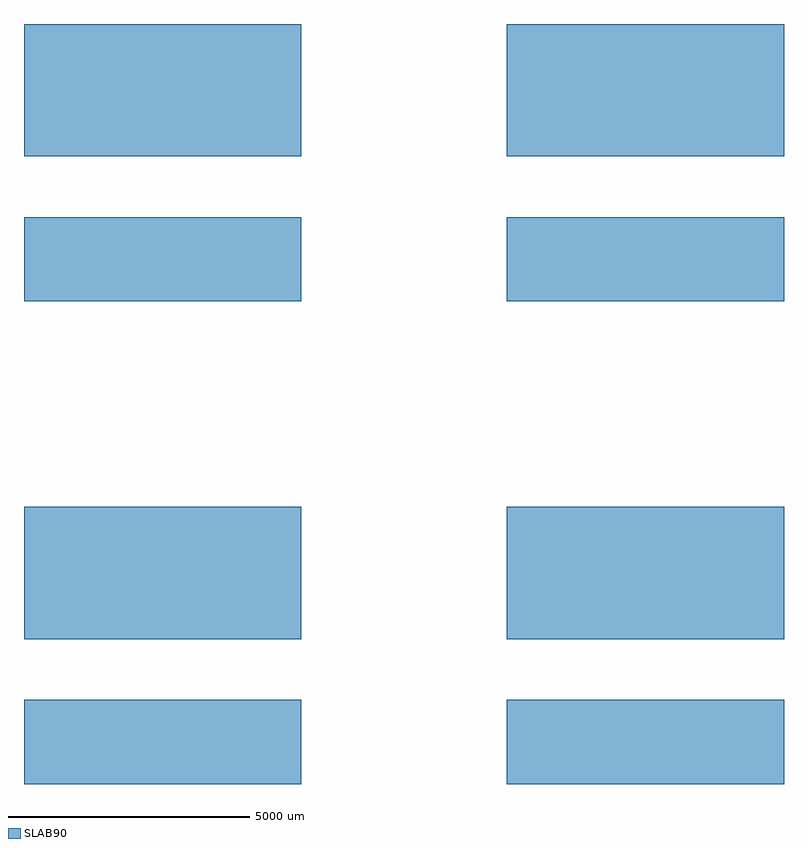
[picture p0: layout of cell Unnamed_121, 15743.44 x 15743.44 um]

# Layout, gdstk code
import gdstk
lib = gdstk.Library(unit=1e-6, precision=1e-09)
def R(c, l, rs):  # rectangles x0, y0, x1, y1
    for r in rs: c.add(gdstk.rectangle(r[:2], r[2:], *l))
SLAB90 = (3, 0)

rectangle_s5743p44_2743_ = lib.new_cell('rectangle_S5743p44_2743_31799ffc')
R(rectangle_s5743p44_2743_, SLAB90, [(0,0,5743.44,2743.44)])

rectangle_s5743p44_1743_ = lib.new_cell('rectangle_S5743p44_1743_8d4c1162')
R(rectangle_s5743p44_1743_, SLAB90, [(0,0,5743.44,1743.44)])

unnamed_125 = lib.new_cell('Unnamed_125')
unnamed_125.add(gdstk.Reference(rectangle_s5743p44_2743_, (0,3000)))
unnamed_125.add(gdstk.Reference(rectangle_s5743p44_1743_, (0,0)))

unnamed_124 = lib.new_cell('Unnamed_124')
unnamed_124.add(gdstk.Reference(rectangle_s5743p44_2743_, (0,3000)))
unnamed_124.add(gdstk.Reference(rectangle_s5743p44_1743_, (0,0)))

unnamed_123 = lib.new_cell('Unnamed_123')
unnamed_123.add(gdstk.Reference(rectangle_s5743p44_2743_, (0,3000)))
unnamed_123.add(gdstk.Reference(rectangle_s5743p44_1743_, (0,0)))

unnamed_122 = lib.new_cell('Unnamed_122')
unnamed_122.add(gdstk.Reference(rectangle_s5743p44_2743_, (0,3000)))
unnamed_122.add(gdstk.Reference(rectangle_s5743p44_1743_, (0,0)))

unnamed_121 = lib.new_cell('Unnamed_121')
unnamed_121.add(gdstk.Reference(unnamed_125, (9628.28,9628.28)))
unnamed_121.add(gdstk.Reference(unnamed_124, (-371.72,9628.28)))
unnamed_121.add(gdstk.Reference(unnamed_123, (9628.28,-371.72)))
unnamed_121.add(gdstk.Reference(unnamed_122, (-371.72,-371.72)))

lib.write_gds('Unnamed_121.gds')
